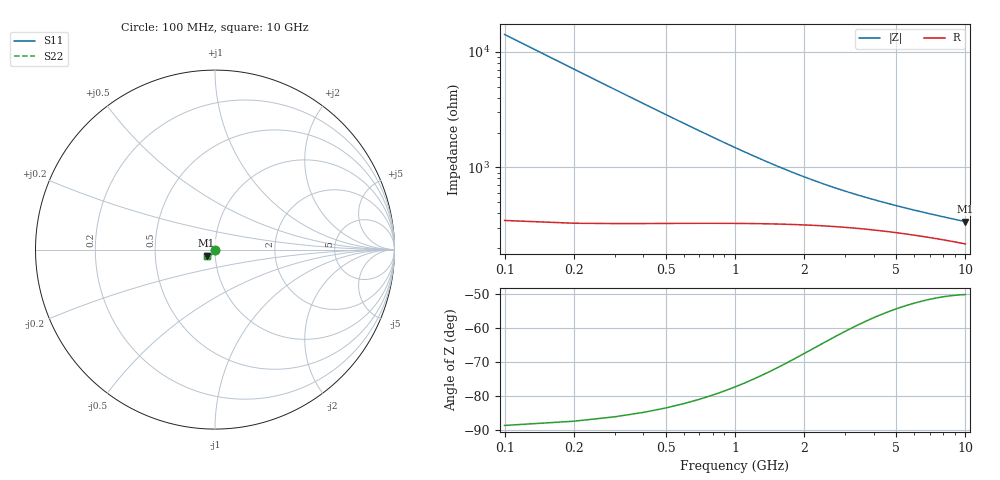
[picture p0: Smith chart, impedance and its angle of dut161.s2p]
! Touchstone file exported from HFSS 2024.1.0
!  File:  C:/UserFiles/LocalFiles/RDL_TSV_Batchsim/temp_TSV1_161_1778766058.aedt
!  Generated:  09:46:06 PM May 14, 2026
!  Design:  TSV1
!  Project:  temp_TSV1_161_1778766058
!  Setup:  Setup1
!  Solution:  Sweep
! Variables:
!  dtsv = 16.64um
!  hbump = 3um
!  htsv = 55.31um
!  lrdl = 252.1521522um
!  p = 40
!  p1 = 44.27um
!  t = 500um
!  trdl = 3um
!  wrdl = 24.89489489um
# GHz S MA R 50.000000
! Terminal data exported
! Port[1] = TSV22_T1
! Port[2] = TSV22_T2
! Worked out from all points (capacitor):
!   100 points, 100 MHz to 10 GHz, reference 50 ohm
!   read as one part in shunt: C = 113 fF near 100 MHz
!   lowest |Z| = 338 ohm at 10 GHz (marker M1)
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0.1  0.001548 -89.1  0.9999 -0.1  0.9999 -0.1  0.001548 -89.1
! Gamma 0 0 0 0
! Port Impedance 50 0 50 0
0.2  0.00309 -91.9  0.9998 -0.2  0.9998 -0.2  0.00309 -91.9
0.3  0.004624 -93.9  0.9995 -0.3  0.9995 -0.3  0.004624 -93.9
0.4  0.006144 -95.6  0.9993 -0.4  0.9993 -0.4  0.006144 -95.6
0.5  0.007647 -97.3  0.9989 -0.6  0.9989 -0.6  0.007647 -97.3
0.6  0.009129 -98.8  0.9984 -0.7  0.9984 -0.7  0.009129 -98.8
0.7  0.01059 -100.4  0.9979 -0.8  0.9979 -0.8  0.01059 -100.4
0.8  0.01202 -101.9  0.9973 -0.9  0.9973 -0.9  0.01202 -101.9
0.9  0.01341 -103.3  0.9967 -1.0  0.9967 -1.0  0.01341 -103.3
1.1  0.01611 -106.2  0.9953 -1.1  0.9953 -1.1  0.01611 -106.2
1.4  0.01988 -110.1  0.9929 -1.4  0.9929 -1.4  0.01988 -110.1
1.6  0.02221 -112.5  0.9913 -1.5  0.9913 -1.5  0.02221 -112.5
1.8  0.02438 -114.7  0.9896 -1.7  0.9896 -1.7  0.02438 -114.7
2.1  0.02736 -117.8  0.9871 -1.9  0.9871 -1.9  0.02736 -117.8
2.5  0.03086 -121.3  0.9838 -2.1  0.9838 -2.1  0.03086 -121.3
2.9  0.03388 -124.4  0.9808 -2.3  0.9808 -2.3  0.03388 -124.4
3.4  0.03713 -127.6  0.9774 -2.4  0.9774 -2.4  0.03713 -127.6
4.2  0.0414 -131.6  0.9726 -2.7  0.9726 -2.7  0.0414 -131.6
5.1  0.04526 -134.9  0.9682 -3.0  0.9682 -3.0  0.04526 -134.9
6.7  0.05059 -139.0  0.9619 -3.4  0.9619 -3.4  0.05059 -139.0
8.4  0.05489 -142.1  0.9569 -3.8  0.9569 -3.8  0.05489 -142.1
10  0.05803 -144.2  0.9534 -4.2  0.9534 -4.2  0.05803 -144.2
